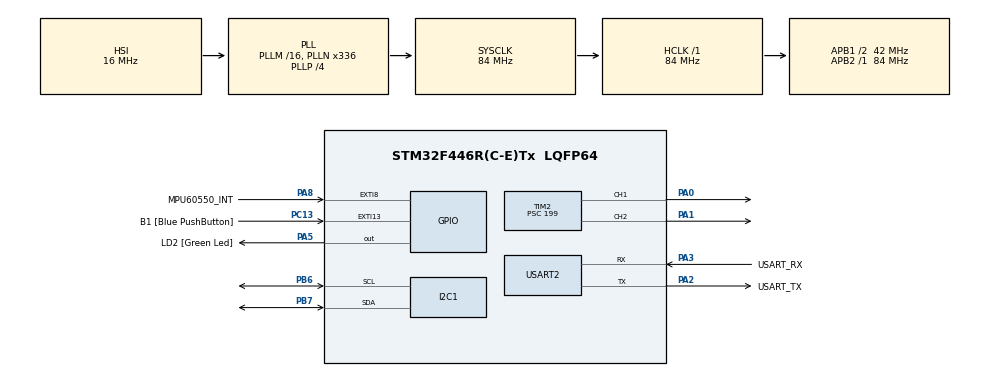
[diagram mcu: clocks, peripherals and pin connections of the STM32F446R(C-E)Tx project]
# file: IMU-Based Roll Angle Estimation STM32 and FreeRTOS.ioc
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FREERTOS.Tasks01=defaultTask,24,128,StartDefaultTask,Default,NULL,Dynamic,NULL,NULL;SensorReadTask_,24,128,sensor_read_task,Default,NULL,Dynamic,NULL,NULL;PWMControlTask_,24,128,pwm_control_task,Default,NULL,Dynamic,NULL,NULL
FREERTOS.configUSE_NEWLIB_REENTRANT=1
Mcu.Family=STM32F4
Mcu.Name=STM32F446R(C-E)Tx
Mcu.Package=LQFP64
NVIC.EXTI9_5_IRQn=true\:5\:0\:false\:false\:true\:true\:true\:true\:true
NVIC.PriorityGroup=NVIC_PRIORITYGROUP_4
NVIC.TIM2_IRQn=true\:5\:0\:false\:false\:true\:true\:true\:true\:true
NVIC.TIM6_DAC_IRQn=true\:15\:0\:false\:false\:true\:false\:false\:true\:true
NVIC.TimeBase=TIM6_DAC_IRQn
NVIC.TimeBaseIP=TIM6
PA0-WKUP.Signal=S_TIM2_CH1_ETR
PA1.Signal=S_TIM2_CH2
PA13.GPIO_Label=TMS
PA13.Signal=SYS_JTMS-SWDIO
PA14.GPIO_Label=TCK
PA14.Signal=SYS_JTCK-SWCLK
PA2.GPIO_Label=USART_TX
PA2.Mode=Asynchronous
PA2.Signal=USART2_TX
PA3.GPIO_Label=USART_RX
PA3.Mode=Asynchronous
PA3.Signal=USART2_RX
PA5.GPIO_Label=LD2 [Green Led]
PA5.Signal=GPIO_Output
PA8.GPIO_Label=MPU60550_INT
PA8.Signal=GPXTI8
PB3.GPIO_Label=SWO
PB3.Signal=SYS_JTDO-SWO
PB6.Mode=I2C
PB6.Signal=I2C1_SCL
PB7.Mode=I2C
PB7.Signal=I2C1_SDA
PC13.GPIO_Label=B1 [Blue PushButton]
PC13.GPIO_ModeDefaultEXTI=GPIO_MODE_IT_FALLING
PC13.Signal=GPXTI13
PC14-OSC32_IN.Mode=LSE-External-Oscillator
PC14-OSC32_IN.Signal=RCC_OSC32_IN
PC15-OSC32_OUT.Mode=LSE-External-Oscillator
PC15-OSC32_OUT.Signal=RCC_OSC32_OUT
PH0-OSC_IN.Mode=HSE-External-Oscillator
PH0-OSC_IN.Signal=RCC_OSC_IN
PH1-OSC_OUT.Mode=HSE-External-Oscillator
PH1-OSC_OUT.Signal=RCC_OSC_OUT
ProjectManager.HeapSize=0x200
ProjectManager.StackSize=0x400
ProjectManager.TargetToolchain=STM32CubeIDE
RCC.48MHZClocksFreq_Value=84000000
RCC.AHBFreq_Value=84000000
RCC.APB1CLKDivider=RCC_HCLK_DIV2
RCC.APB1Freq_Value=42000000
RCC.APB1TimFreq_Value=84000000
RCC.APB2Freq_Value=84000000
RCC.APB2TimFreq_Value=84000000
RCC.CortexFreq_Value=84000000
RCC.FLatency-AdvancedSettings=FLASH_LATENCY_2
RCC.HCLKFreq_Value=84000000
RCC.HSE_VALUE=8000000
RCC.HSI_VALUE=16000000
RCC.PLLN=336
RCC.PLLP=RCC_PLLP_DIV4
RCC.SYSCLKFreq_VALUE=84000000
RCC.SYSCLKSource=RCC_SYSCLKSOURCE_PLLCLK
RCC.USBFreq_Value=168000000
RCC.VCOOutputFreq_Value=336000000
SH.S_TIM2_CH1_ETR.0=TIM2_CH1,PWM Generation1 CH1
SH.S_TIM2_CH2.0=TIM2_CH2,PWM Generation2 CH2
TIM2.Channel-PWM\ Generation1\ CH1=TIM_CHANNEL_1
TIM2.Channel-PWM\ Generation2\ CH2=TIM_CHANNEL_2
TIM2.Period=39
TIM2.Prescaler=199
TIM2.Pulse-PWM\ Generation1\ CH1=16
TIM2.Pulse-PWM\ Generation2\ CH2=8
TIM2.TIM_MasterOutputTrigger=TIM_TRGO_UPDATE
USART2.VirtualMode=VM_ASYNC
VP_FREERTOS_VS_CMSIS_V2.Mode=CMSIS_V2
VP_SYS_VS_tim6.Mode=TIM6
VP_TIM2_VS_ClockSourceINT.Mode=Internal
board=NUCLEO-F446RE

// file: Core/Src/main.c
/* USER CODE BEGIN Header */
/**
  ******************************************************************************
  * @file           : main.c
  * @brief          : Main program body
  ******************************************************************************
  * @attention
  *
  * Copyright (c) 2025 STMicroelectronics.
  * All rights reserved.
  *
  * This software is licensed under terms that can be found in the LICENSE file
  * in the root directory of this software component.
  * If no LICENSE file comes with this software, it is provided AS-IS.
  *
  ******************************************************************************
  */
/* USER CODE END Header */
#include "main.h"
#include "cmsis_os.h"

/* USER CODE BEGIN Includes */
#include "stm32f4xx_hal_tim.h"
#include "MPU6050_Data.h"
#include<math.h>
#include "kalman_filter.h"
/* USER CODE END Includes */

/* USER CODE BEGIN PD */
#define ANGLE_POS_MIN 0
#define ANGLE_POS_MAX 90
#define PWM_PULSE_MIN 0
#define PWM_PULSE_MAX 80
#define DEADZONE_PERCENT 5.0f   // 5%
#define DEADZONE_DEG (ANGLE_POS_MAX * DEADZONE_PERCENT / 100.0f)
/* USER CODE END PD */

I2C_HandleTypeDef hi2c1;

TIM_HandleTypeDef htim2;

UART_HandleTypeDef huart2;

/* Definitions for defaultTask */
osThreadId_t defaultTaskHandle;
const osThreadAttr_t defaultTask_attributes = {
  .name = "defaultTask",
  .stack_size = 128 * 4,
  .priority = (osPriority_t) osPriorityNormal,
};
/* Definitions for SensorReadTask_ */
osThreadId_t SensorReadTask_Handle;
const osThreadAttr_t SensorReadTask__attributes = {
  .name = "SensorReadTask_",
  .stack_size = 128 * 4,
  .priority = (osPriority_t) osPriorityNormal,
};
/* Definitions for PWMControlTask_ */
osThreadId_t PWMControlTask_Handle;
const osThreadAttr_t PWMControlTask__attributes = {
  .name = "PWMControlTask_",
  .stack_size = 128 * 4,
  .priority = (osPriority_t) osPriorityNormal,
};
/* USER CODE BEGIN PV */
const mpu_accelerometer_data_t error_offset={
		.x=250,
		.y=-200,
		.z=156
};
/* USER CODE END PV */

void SystemClock_Config(void);
static void MX_GPIO_Init(void);
static void MX_USART2_UART_Init(void);
static void MX_I2C1_Init(void);
static void MX_TIM2_Init(void);
void StartDefaultTask(void *argument);
void sensor_read_task(void *argument);
void pwm_control_task(void *argument);

/* USER CODE BEGIN PFP */
void HAL_TIM_PeriodElapsedCallback(TIM_HandleTypeDef *htim);
void HAL_TIM_PWM_PulseFinishedCallback(TIM_HandleTypeDef *htim);
void HAL_TIM_ErrorCallback(TIM_HandleTypeDef *htim);
/* USER CODE END PFP */

/* USER CODE BEGIN 0 */
mpu_accelerometer_data_t g_accel_data;
volatile int16_t accel_x, accel_y, accel_z=0;
volatile float roll_angle;
volatile int32_t roll_angle_cm;
int16_t kalman_roll_angle;
uint8_t channel;
volatile float roll_angle_abs;
uint32_t pwm_value;

// Map function: re-maps a number from one range to another
long map(long x, long in_min, long in_max, long out_min, long out_max) {
    // Perform  mapping
    long result = (x - in_min) * (out_max - out_min) / (in_max - in_min) + out_min;

    // Clamp the result to the output range
    if (result > out_max) {
        result = out_max;
    } else if (result < out_min) {
        result = out_min;
    }

    return result;
}

void update_pwm_duty_cycle(uint32_t pwm_pulse, uint8_t timer_channel) {
	__HAL_TIM_SET_COMPARE(&htim2, timer_channel, pwm_pulse);
}
/* USER CODE END 0 */

int main(void)
{

  /* USER CODE BEGIN 1 */
	//float dt=0;
  /* USER CODE END 1 */

  /* MCU Configuration--------------------------------------------------------*/

  /* Reset of all peripherals, Initializes the Flash interface and the Systick. */
  HAL_Init();

  /* Configure the system clock */
  SystemClock_Config();

  /* Initialize all configured peripherals */
  MX_GPIO_Init();
  MX_USART2_UART_Init();
  MX_I2C1_Init();
  MX_TIM2_Init();
  /* USER CODE BEGIN 2 */

  // call Kalman filter
  kalmanfilter kf;
  kalman_filter_init(&kf);

  if(mpu6050_Init(&hi2c1,MPU6050_I2C_ADDR) !=MPU6050_OK)
  {
	  while(1);
  }
  if(HAL_TIM_PWM_Start_IT(&htim2, TIM_CHANNEL_1) != HAL_OK)
  {
	  while(1);
  }
  if(HAL_TIM_PWM_Start_IT(&htim2, TIM_CHANNEL_2) != HAL_OK)
    {
  	  while(1);
    }

 // uint32_t previous_tick=HAL_GetTick();
  /* USER CODE END 2 */

  /* Init scheduler */
  osKernelInitialize();

  /* Create the thread(s) */
  /* creation of defaultTask */
  defaultTaskHandle = osThreadNew(StartDefaultTask, NULL, &defaultTask_attributes);

  /* creation of SensorReadTask_ */
  SensorReadTask_Handle = osThreadNew(sensor_read_task, NULL, &SensorReadTask__attributes);

  /* creation of PWMControlTask_ */
  PWMControlTask_Handle = osThreadNew(pwm_control_task, NULL, &PWMControlTask__attributes);

  /* Start scheduler */
  osKernelStart();

  /* We should never get here as control is now taken by the scheduler */

  /* Infinite loop */
  while (1)
  {

    /* USER CODE BEGIN 3 */
//	 uint32_t current_tick=HAL_GetTick();
//	dt=(current_tick - previous_tick)/1000.0f;
	//previous_tick=current_tick;

	 if(mpu_read_accelerometer_data(&hi2c1, MPU6050_I2C_ADDR, &g_accel_data) != MPU6050_OK)
	  	 {
	  		 while(1);
	  	  }

	  g_accel_data=mpu6050_accelaration_calibration(&error_offset, &g_accel_data);
	  	  accel_x = g_accel_data.x;
	  	  accel_y = g_accel_data.y;
	  	   accel_z = g_accel_data.z;

	  	   roll_angle=((atan2f((float)accel_z, (float)accel_y) * 57.29578f));
	  	   if(roll_angle<0)
	  	   {
	  		   channel=TIM_CHANNEL_1;
	  		   roll_angle_abs=-roll_angle;
	  	   }
	  	   else
	  	   {
	  		   channel=TIM_CHANNEL_2;
	  		   roll_angle_abs=roll_angle;
	  	   }
	  	   // Deadzone implementation
	  	   if(roll_angle_abs < DEADZONE_DEG)
	  	   {
	  		 roll_angle_abs =0;
	  	   }
	  	   pwm_value=map(roll_angle_abs,ANGLE_POS_MIN,ANGLE_POS_MAX,PWM_PULSE_MIN,PWM_PULSE_MAX);
	  	__DMB();
	  	 HAL_Delay(100);

	  	 update_pwm_duty_cycle(pwm_value,channel);

  }
  /* USER CODE END 3 */
}

void SystemClock_Config(void)
{
  RCC_OscInitTypeDef RCC_OscInitStruct = {0};
  RCC_ClkInitTypeDef RCC_ClkInitStruct = {0};

  /** Configure the main internal regulator output voltage
  */
  __HAL_RCC_PWR_CLK_ENABLE();
  __HAL_PWR_VOLTAGESCALING_CONFIG(PWR_REGULATOR_VOLTAGE_SCALE3);

  /** Initializes the RCC Oscillators according to the specified parameters
  * in the RCC_OscInitTypeDef structure.
  */
  RCC_OscInitStruct.OscillatorType = RCC_OSCILLATORTYPE_HSI;
  RCC_OscInitStruct.HSIState = RCC_HSI_ON;
  RCC_OscInitStruct.HSICalibrationValue = RCC_HSICALIBRATION_DEFAULT;
  RCC_OscInitStruct.PLL.PLLState = RCC_PLL_ON;
  RCC_OscInitStruct.PLL.PLLSource = RCC_PLLSOURCE_HSI;
  RCC_OscInitStruct.PLL.PLLM = 16;
  RCC_OscInitStruct.PLL.PLLN = 336;
  RCC_OscInitStruct.PLL.PLLP = RCC_PLLP_DIV4;
  RCC_OscInitStruct.PLL.PLLQ = 2;
  RCC_OscInitStruct.PLL.PLLR = 2;
  if (HAL_RCC_OscConfig(&RCC_OscInitStruct) != HAL_OK)
  {
    Error_Handler();
  }

  /** Initializes the CPU, AHB and APB buses clocks
  */
  RCC_ClkInitStruct.ClockType = RCC_CLOCKTYPE_HCLK|RCC_CLOCKTYPE_SYSCLK
                              |RCC_CLOCKTYPE_PCLK1|RCC_CLOCKTYPE_PCLK2;
  RCC_ClkInitStruct.SYSCLKSource = RCC_SYSCLKSOURCE_PLLCLK;
  RCC_ClkInitStruct.AHBCLKDivider = RCC_SYSCLK_DIV1;
  RCC_ClkInitStruct.APB1CLKDivider = RCC_HCLK_DIV2;
  RCC_ClkInitStruct.APB2CLKDivider = RCC_HCLK_DIV1;

  if (HAL_RCC_ClockConfig(&RCC_ClkInitStruct, FLASH_LATENCY_2) != HAL_OK)
  {
    Error_Handler();
  }
}

static void MX_I2C1_Init(void)
{

  hi2c1.Instance = I2C1;
  hi2c1.Init.ClockSpeed = 100000;
  hi2c1.Init.DutyCycle = I2C_DUTYCYCLE_2;
  hi2c1.Init.OwnAddress1 = 0;
  hi2c1.Init.AddressingMode = I2C_ADDRESSINGMODE_7BIT;
  hi2c1.Init.DualAddressMode = I2C_DUALADDRESS_DISABLE;
  hi2c1.Init.OwnAddress2 = 0;
  hi2c1.Init.GeneralCallMode = I2C_GENERALCALL_DISABLE;
  hi2c1.Init.NoStretchMode = I2C_NOSTRETCH_DISABLE;
  if (HAL_I2C_Init(&hi2c1) != HAL_OK)
  {
    Error_Handler();
  }

}

static void MX_TIM2_Init(void)
{

  TIM_ClockConfigTypeDef sClockSourceConfig = {0};
  TIM_MasterConfigTypeDef sMasterConfig = {0};
  TIM_OC_InitTypeDef sConfigOC = {0};

  htim2.Instance = TIM2;
  htim2.Init.Prescaler = 199;
  htim2.Init.CounterMode = TIM_COUNTERMODE_UP;
  htim2.Init.Period = 39;
  htim2.Init.ClockDivision = TIM_CLOCKDIVISION_DIV1;
  htim2.Init.AutoReloadPreload = TIM_AUTORELOAD_PRELOAD_DISABLE;
  if (HAL_TIM_Base_Init(&htim2) != HAL_OK)
  {
    Error_Handler();
  }
  sClockSourceConfig.ClockSource = TIM_CLOCKSOURCE_INTERNAL;
  if (HAL_TIM_ConfigClockSource(&htim2, &sClockSourceConfig) != HAL_OK)
  {
    Error_Handler();
  }
  if (HAL_TIM_PWM_Init(&htim2) != HAL_OK)
  {
    Error_Handler();
  }
  sMasterConfig.MasterOutputTrigger = TIM_TRGO_UPDATE;
  sMasterConfig.MasterSlaveMode = TIM_MASTERSLAVEMODE_DISABLE;
  if (HAL_TIMEx_MasterConfigSynchronization(&htim2, &sMasterConfig) != HAL_OK)
  {
    Error_Handler();
  }
  sConfigOC.OCMode = TIM_OCMODE_PWM1;
  sConfigOC.Pulse = 16;
  sConfigOC.OCPolarity = TIM_OCPOLARITY_HIGH;
  sConfigOC.OCFastMode = TIM_OCFAST_DISABLE;
  if (HAL_TIM_PWM_ConfigChannel(&htim2, &sConfigOC, TIM_CHANNEL_1) != HAL_OK)
  {
    Error_Handler();
  }
  sConfigOC.Pulse = 8;
  if (HAL_TIM_PWM_ConfigChannel(&htim2, &sConfigOC, TIM_CHANNEL_2) != HAL_OK)
  {
    Error_Handler();
  }
  HAL_TIM_MspPostInit(&htim2);

}

static void MX_USART2_UART_Init(void)
{

  huart2.Instance = USART2;
  huart2.Init.BaudRate = 115200;
  huart2.Init.WordLength = UART_WORDLENGTH_8B;
  huart2.Init.StopBits = UART_STOPBITS_1;
  huart2.Init.Parity = UART_PARITY_NONE;
  huart2.Init.Mode = UART_MODE_TX_RX;
  huart2.Init.HwFlowCtl = UART_HWCONTROL_NONE;
  huart2.Init.OverSampling = UART_OVERSAMPLING_16;
  if (HAL_UART_Init(&huart2) != HAL_OK)
  {
    Error_Handler();
  }

}

static void MX_GPIO_Init(void)
{
  GPIO_InitTypeDef GPIO_InitStruct = {0};

  /* GPIO Ports Clock Enable */
  __HAL_RCC_GPIOC_CLK_ENABLE();
  __HAL_RCC_GPIOH_CLK_ENABLE();
  __HAL_RCC_GPIOA_CLK_ENABLE();
  __HAL_RCC_GPIOB_CLK_ENABLE();

  /*Configure GPIO pin Output Level */
  HAL_GPIO_WritePin(LD2_GPIO_Port, LD2_Pin, GPIO_PIN_RESET);

  /*Configure GPIO pin : B1_Pin */
  GPIO_InitStruct.Pin = B1_Pin;
  GPIO_InitStruct.Mode = GPIO_MODE_IT_FALLING;
  GPIO_InitStruct.Pull = GPIO_NOPULL;
  HAL_GPIO_Init(B1_GPIO_Port, &GPIO_InitStruct);

  /*Configure GPIO pin : LD2_Pin */
  GPIO_InitStruct.Pin = LD2_Pin;
  GPIO_InitStruct.Mode = GPIO_MODE_OUTPUT_PP;
  GPIO_InitStruct.Pull = GPIO_NOPULL;
  GPIO_InitStruct.Speed = GPIO_SPEED_FREQ_LOW;
  HAL_GPIO_Init(LD2_GPIO_Port, &GPIO_InitStruct);

}

void StartDefaultTask(void *argument)
{
  for(;;)
  {
    osDelay(1);
  }
}

void sensor_read_task(void *argument)
{
  for(;;)
  {
    osDelay(1);
  }
}

void pwm_control_task(void *argument)
{
  for(;;)
  {
    osDelay(1);
  }
}

void HAL_TIM_PeriodElapsedCallback(TIM_HandleTypeDef *htim)
{
  if (htim->Instance == TIM6)
  {
    HAL_IncTick();
  }
}

void Error_Handler(void)
{
  __disable_irq();
  while (1)
  {
  }
}
